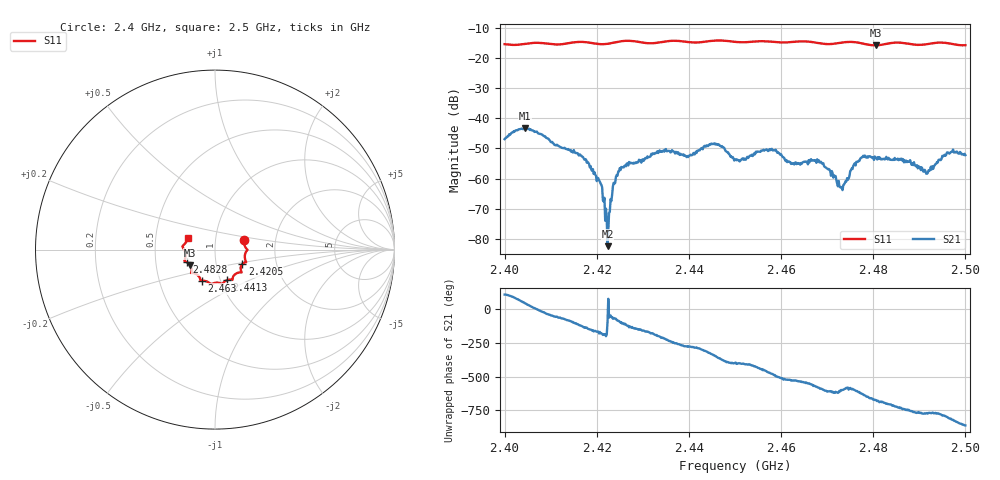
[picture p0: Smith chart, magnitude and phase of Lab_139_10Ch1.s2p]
# Hz S RI R 50
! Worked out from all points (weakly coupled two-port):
!   601 points, 2.4 GHz to 2.5 GHz, reference 50 ohm
!   highest |S21| = -43.27 dB at 2.4043 GHz (marker M1); lowest = -82.5 dB at 2.4223 GHz (marker M2)
!   lowest |S11| = -15.7 dB at 2.4805 GHz (marker M3), VSWR 1.39, Z = 37.3 - j6.69 ohm
!   |S11| at or under -10 dB: start of sweep to end of sweep
!   S12 and S22 are empty: the file has one direction only
!   S11 on the Smith chart (normalised r, x): 2.4 GHz: 1.38, +0.15; 2.4205 GHz: 1.34, -0.22; 2.4413 GHz: 1.08, -0.38; 2.463 GHz: 0.82, -0.29; 2.4828 GHz: 0.72, -0.10; 2.5 GHz: 0.73, +0.10
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2.4e9  0.163 0.0526  -0.00147 0.00427  0 0  0 0
2.404333e9  0.173 0.00765  0.00476 0.00494  0 0  0 0
2.416667e9  0.1734 -0.0697  -0.00131 -0.00201  0 0  0 0
2.4205e9  0.1519 -0.081  -0.000934 -1.39e-05  0 0  0 0
2.422333e9  0.1435 -0.0978  -8.4e-06 -7.48e-05  0 0  0 0
2.423833e9  0.1438 -0.1131  0.000312 -0.000764  0 0  0 0
2.425167e9  0.1465 -0.1225  -0.000207 -0.00137  0 0  0 0
2.433333e9  0.1004 -0.1516  -0.00253 0.000834  0 0  0 0
2.441333e9  0.0677 -0.1696  0.000639 0.00248  0 0  0 0
2.446e9  0.0418 -0.1925  0.00364 0.000473  0 0  0 0
2.45e9  0.0247 -0.1856  0.00166 -0.00125  0 0  0 0
2.458333e9  -0.0329 -0.1844  -0.00164 -0.00247  0 0  0 0
2.463e9  -0.072 -0.1736  -0.00179 -0.00041  0 0  0 0
2.466667e9  -0.0815 -0.1673  -0.00187 0.000619  0 0  0 0
2.473167e9  -0.1276 -0.13  -0.000359 0.000605  0 0  0 0
2.477667e9  -0.1304 -0.1179  -8.94e-05 0.00226  0 0  0 0
2.4805e9  -0.1384 -0.0872  0.00147 0.00166  0 0  0 0
2.482833e9  -0.1585 -0.0701  0.00216 0.000774  0 0  0 0
2.483333e9  -0.1624 -0.0683  0.00211 0.000654  0 0  0 0
2.491333e9  -0.1697 -0.00558  0.000799 -0.00106  0 0  0 0
2.4965e9  -0.1744 0.0257  9.43e-05 -0.0026  0 0  0 0
2.5e9  -0.152 0.0638  -0.0019 -0.00155  0 0  0 0
